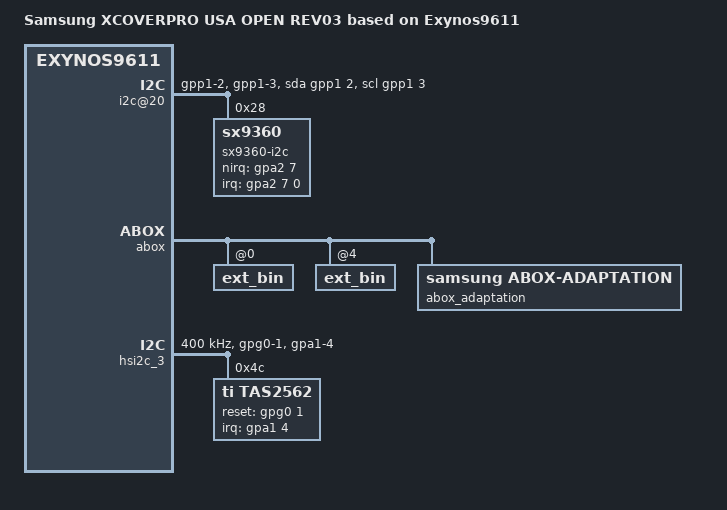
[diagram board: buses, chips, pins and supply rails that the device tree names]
/*
 * SAMSUNG EXYNOS9610 board device tree source
 *
 * Copyright (c) 2018 Samsung Electronics Co., Ltd.
 *		http://www.samsung.com
 *
 * This program is free software; you can redistribute it and/or modify
 * it under the terms of the GNU General Public License version 2 as
 * published by the Free Software Foundation.
 */

/dts-v1/;
/plugin/;
#include "exynos9611-xcoverpro_common.dtsi"
#include "battery_data_xcoverpro_usa_open_00.dtsi"
#include "exynos9611-xcoverpro_fingerprint_00.dtsi"
#include "exynos9611-xcoverpro_sensorhub_00.dtsi"
#include "exynos9611-xcoverpro_nfc_00.dtsi"
#include "exynos9611-xcoverpro_usa_open_gpio_05.dtsi"

/ {
	compatible = "samsung, XCOVERPRO USA OPEN REV03", "samsung,EXYNOS9611";
	dtbo-hw_rev = <5>;
	dtbo-hw_rev_end = <255>;

	fragment@model {
		target-path = "/";
		__overlay__ {
			#address-cells = <2>;
			#size-cells = <1>;

			model = "Samsung XCOVERPRO USA OPEN REV03 based on Exynos9611";

			sound {
				mixer-paths = "mixer_paths_ti.xml";
				amp-vendor = "TI";
				uaif@2 {
					format = "i2s";
					cpu {
						sound-dai = <&abox_uaif_2>;
					};
					platform {
						sound-dai = <&abox_adaptation 0>;
					};
					codec {
						sound-dai = <&tas2562 0>;
					};
				};
			};

			mif_pdata {
				/* GPIOs for HW REV */
				/* XGPIO26-AP_REV0, XGPIO27-AP_REV1, XGPIO28-AP_REV2, XGPIO29-AP_REV3 */
				gpios = <&gpg3 2 0>, <&gpg3 3 0>, <&gpg3 4 0>, <&gpg3 5 0>;
				pinctrl-names = "default";

				pinctrl-0 = <&ds_det>;
				mif,gpio_ds_det = <&gpg3 1 0x0>;
			};

			pinctrl@139B0000 {
				ds_det: ds_det {
					samsung,pins = "gpg3-1";
					samsung,pin-function = <0>;	/* INPUT */
					samsung,pin-pud = <0>;
					samsung,pin-con-pdn = <2>;	/* INPUT */
					samsung,pin-pud-pdn = <0>;
				};
			};

			i2c@20 {
				compatible = "i2c-gpio";
				gpios = <&gpp1 2 0
						&gpp1 3 0>;
				i2c-gpio,delay-us = <5>;
				#address-cells = <1>;
				#size-cells = <0>;
				pinctrl-names = "default";
				pinctrl-0 = <&grip_i2c>;

				sx9360-i2c@28 {
					status = "okay";

					compatible = "sx9360";
					reg = <0x28>;
					pinctrl-names = "default";
					pinctrl-0 = <&grip_int>;
					interrupt-parent = <&gpa2>;
					interrupts = <7 0 0>;
					sx9360,nirq-gpio = <&gpa2 7 0>;

					sx9360,refresolution_reg = <0x0f>; /* same as resolution_reg */
					sx9360,refagainfreq_reg = <0x36>; /* same as againfreq_reg */
					sx9360,resolution_reg = <0x0f>; /* resolution : 1024 */
					sx9360,againfreq_reg = <0x58>; /* freq : 62.5 kHz, again : +/-7.5 pF */
					sx9360,refgainrawfilt_reg = <0x22>; /* same as gainrawfilt_reg */
					sx9360,gainrawfilt_reg = <0x1A>; /* rawfilter : 1-1/4, gain : x4 */
					sx9360,hyst_reg = <0x15>; /* hysteresis : +/-6 %, debouncer : 2 samples */
					sx9360,proxthresh_reg = <0x23>; /* threshhold : 612 */
					sx9360,hallic_detect = <0>;
					sx9360,hallic_cert_detect = <0>;
				};
			};
		}; /* end of __overlay__ */
	}; /* end of fragment */
}; /* end of root */

&pinctrl_0 {
	earant_det: earant-det {
		samsung,pins ="gpa1-4";
		samsung,pin-function = <0xf>;
		samsung,pin-pud = <0>;
	};

	grip_int: grip-int {
		samsung,pins = "gpa2-7";
		samsung,pin-function = <0xf>;
		samsung,pin-pud = <0>;
	};
};

&pinctrl_4 {
	grip_i2c: grip-i2c {
		samsung,pins = "gpp1-2", "gpp1-3";
		samsung,pin-function = <0>;
		samsung,pin-pud = <0>;
	};
};

&abox {
	ext_bin@0 {
		status = "okay";
		samsung,name = "spkamp.bin";
		samsung,area = <1>; /* 0:SRAM, 1:DRAM, 2:VSS */
		samsung,offset = <0x502000>;
	};
	ext_bin@4 {
		status = "okay";
		samsung,name = "param_ti.bin";
		samsung,area = <1>;
		samsung,offset = <0x600000>;
	};
	abox_adaptation: abox_adaptation {
		compatible = "samsung,abox-adaptation";
		#sound-dai-cells = <1>;
		abox = <&abox>;
	};
};

&pinctrl_0 {
	spk_int: spk-int {
		samsung,pins ="gpa1-4";
		samsung,pin-function = <0xf>;
		samsung,pin-pud = <0>;
		samsung,pin-pud-pdn = <0>;
	};
};

&pinctrl_4 {
	spk_en: spk-en {
		samsung,pins ="gpg0-1";
		samsung,pin-function = <1>;
		samsung,pin-pud = <0>;
		samsung,pin-con-pdn = <1>;
		samsung,pin-pud-pdn = <0>;
	};
};

&hsi2c_3 {
	status = "okay";
	#address-cells = <1>;
	#size-cells = <0>;
	clock-frequency = <400000>;

	pinctrl-names = "default";
	pinctrl-0 = <&hsi2c3_bus &spk_en &spk_int>;

	tas2562: tas2562@4c {
		#sound-dai-cells = <1>;
		compatible = "ti,tas2562";
		reg = <0x4c>;
		ti,left-channel = <0x4c>;
		ti,channels = <1>;
		ti,reset-gpio = <&gpg0 1 0>;
		ti,irq-gpio = <&gpa1 4 0>;
		ti,port_id = <0x1000>;
		status = "ok";
	};

	rt5510@34 {
		status = "disabled";
	};
};
